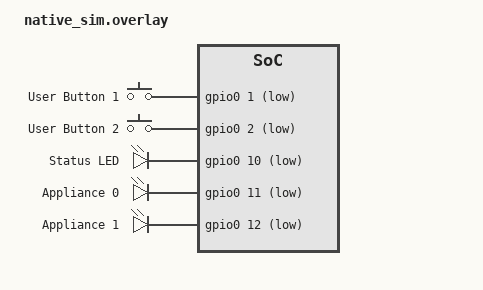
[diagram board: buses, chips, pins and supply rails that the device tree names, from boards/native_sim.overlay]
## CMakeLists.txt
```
# SPDX-License-Identifier: Apache-2.0

cmake_minimum_required(VERSION 3.20.0)

find_package(Zephyr REQUIRED HINTS $ENV{ZEPHYR_BASE})
project(home_automation)

set(CMAKE_EXPORT_COMPILE_COMMANDS ON)

target_include_directories(app PRIVATE
   include
)

set (APP_SOURCES 
   src/gpio_handler.c
   src/mqtt_handler.c
   src/main.c
)

target_sources_ifdef(CONFIG_WIFI app PRIVATE "src/wifi_conn_mgr.c")
target_sources_ifdef(CONFIG_HTTP_SERVER app PRIVATE "src/http_server.c")

target_sources(app PRIVATE 
   ${APP_SOURCES}
)

target_link_libraries(app PRIVATE zephyr_interface zephyr)

zephyr_linker_sources(SECTIONS sections-rom.ld)
zephyr_linker_section_ifdef(CONFIG_HTTP_SERVER NAME
				http_resource_desc_test_http_service
				KVMA RAM_REGION GROUP RODATA_REGION)
        
set(gen_dir ${ZEPHYR_BINARY_DIR}/include/generated/)

# Generate the HTML content
foreach(web_resource
  index.html
  main.js
    )
  generate_inc_file_for_target(
    app
    web_resources/${web_resource}
    ${gen_dir}/${web_resource}.gz.inc
    --gzip
  )
endforeach()
```

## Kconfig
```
# Config options for Home Automation System (MQTT Client)
# Copyright (c) 2025 Muhammad Waleed Badar
# SPDX-License-Identifier: Apache-2.0

mainmenu "Home Automation System"

config MAX_APPLIANCES
  int "Maximum number of appliances"
  default 2

menu "MQTT Configuration"
depends on MQTT_LIB

config SERVER_ADDR
  string "MQTT Broker Address"
  default "192.168.1.102"

config SERVER_PORT
  int "MQTT Broker Port"
  default 1883

config MQTT_CONNECT_TIMEOUT_MS
  int "MQTT Connection Timeout (ms)"
  default 5000

config MQTT_SLEEP_MS
  int "MQTT Polling Sleep Time (ms)"
  default 1000

config MQTT_CONNECT_TRIES
  int "MQTT Connection Retry Limit"
  default 10

config MQTT_CLIENTID
  string "MQTT Client ID"
  default "zephyr"

endmenu # MQTT Configuration

menu "Wi-Fi Configuration"
depends on WIFI

config WIFI_STATIC_SSID
  string "Wi-Fi SSID"
  default "YourSSID"

config WIFI_STATIC_PSK
  string "Wi-Fi Password"
  default "YourPassword"

config WIFI_CONN_RETRY_DELAY
  int "Wi-Fi Connection Retry Delay (s)"
  default 10

config NET_DHCPV4_SERVER
  bool "Enable DHCP Server"
  default y if WIFI_USAGE_MODE_STA_AP

config WIFI_AP_STATIC_SSID
  string "Static SSID for WiFi AP"
  default "Zephyr-AP"

config WIFI_AP_STATIC_PSK
  string "Static Password for WiFi AP"
  default ""

config WIFI_AP_STATIC_IP_ADDR
  string "Access-point statically configured IP address"
  default "192.168.4.1"

config WIFI_AP_STATIC_NETMASK
  string "Access-point statically configured Netmask"
  default "255.255.255.0"

endmenu # Wi-Fi Configuration

source "Kconfig.zephyr"
```

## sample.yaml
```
sample:
  description: MQTT publisher sample application
  name: MQTT publisher
common:
  harness: net
  tags:
    - net
    - mqtt
tests:
  sample.net.mqtt_publisher:
    platform_allow:
      - esp32_devkitc_wroom
      - frdm_k64f
      - qemu_x86
      - pinnacle_100_dvk
      - mg100
    integration_platforms:
      - qemu_x86
      - esp32_devkitc_wroom
  sample.net.mqtt_publisher.userspace:
    platform_allow:
      - esp32_devkitc_wroom
      - frdm_k64f
      - qemu_x86
    integration_platforms:
      - qemu_x86
    extra_args: CONFIG_USERSPACE=y
  sample.net.mqtt_publisher.bt:
    platform_allow: 96b_nitrogen
    tags:
      - net
      - mqtt
      - bluetooth
```

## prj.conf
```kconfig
# General config
CONFIG_MAIN_STACK_SIZE=4096
CONFIG_SYSTEM_WORKQUEUE_STACK_SIZE=2048
CONFIG_INIT_STACKS=y
CONFIG_POSIX_API=y

# Eventfd
CONFIG_EVENTFD=y
CONFIG_FDTABLE=y
CONFIG_ZVFS_EVENTFD_MAX=2
CONFIG_ZVFS_OPEN_MAX=16
CONFIG_ZVFS_POLL_MAX=16

# Enable I/O
CONFIG_GPIO=y
CONFIG_LED=y

# Enable WIFI
CONFIG_WIFI=y
CONFIG_WIFI_NM=y
CONFIG_WIFI_USAGE_MODE_STA_AP=y

# Networking config
CONFIG_NETWORKING=y
CONFIG_NET_IPV4=y
CONFIG_NET_IPV6=n
CONFIG_NET_TCP=y
CONFIG_NET_SOCKETS=y

# Network buffers
CONFIG_NET_PKT_RX_COUNT=16
CONFIG_NET_PKT_TX_COUNT=16
CONFIG_NET_BUF_RX_COUNT=32
CONFIG_NET_BUF_TX_COUNT=32
CONFIG_NET_CONTEXT_NET_PKT_POOL=y

# Networking Managment
CONFIG_NET_MGMT_EVENT_QUEUE_SIZE=10
CONFIG_NET_MGMT_EVENT_STACK_SIZE=4096
CONFIG_NET_SOCKETS_SERVICE_STACK_SIZE=4096

# IP address options
CONFIG_NET_MAX_CONTEXTS=16
CONFIG_NET_MAX_CONN=16

# DHCP config
CONFIG_NET_CONNECTION_MANAGER=y
CONFIG_NET_DHCPV4=y
CONFIG_NET_IF_MAX_IPV4_COUNT=2

# JSON
CONFIG_JSON_LIBRARY=y

# Enable MQTT
CONFIG_MQTT_LIB=y

# Enable HTTP_SERVER
CONFIG_HTTP_SERVER=y

# Logging
CONFIG_LOG=y
CONFIG_NET_LOG=y
CONFIG_WIFI_LOG_LEVEL_DBG=n
CONFIG_MQTT_LOG_LEVEL_DBG=n
```

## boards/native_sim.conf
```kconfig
CONFIG_EMUL=y

# Wifi config
CONFIG_WIFI=n
CONFIG_WIFI_NM=n
CONFIG_WIFI_USAGE_MODE_STA_AP=n

# Network address config
CONFIG_NET_DHCPV4=n
CONFIG_NET_CONFIG_SETTINGS=y
CONFIG_NET_CONFIG_NEED_IPV4=y
CONFIG_NET_CONFIG_MY_IPV4_ADDR="192.0.2.1"
CONFIG_NET_CONFIG_PEER_IPV4_ADDR="192.0.2.2"
CONFIG_NET_CONFIG_MY_IPV4_GW="192.0.2.2"
```

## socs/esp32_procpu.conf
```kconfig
CONFIG_ESP32_WIFI_STA_AUTO_DHCPV4=y
CONFIG_ESP32_USE_UNSUPPORTED_REVISION=y
```

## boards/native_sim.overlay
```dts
/*
 * Copyright (c) 2025 Muhammad Waleed Badar
 *
 * SPDX-License-Identifier: Apache-2.0
 */

#include <zephyr/dt-bindings/input/input-event-codes.h>
#include <zephyr/dt-bindings/lvgl/lvgl.h>

/ {
	aliases {
		sw1 = &button1;
		sw2 = &button2;
		led0 = &led0;
		appliance1 = &appliance1;
		appliance2 = &appliance2;
	};

	buttons {
		compatible = "gpio-keys";
        debounce-interval-ms = <100>;

		button1: button_1 {
			gpios = <&gpio0 1 (GPIO_PULL_UP | GPIO_ACTIVE_LOW)>;
			label = "User Button 1";
			zephyr,code = <INPUT_KEY_1>;
		};
		button2: button_2 {
			gpios = <&gpio0 2 (GPIO_PULL_UP | GPIO_ACTIVE_LOW)>;
			label = "User Button 2";
			zephyr,code = <INPUT_KEY_2>;
		};
	};

	leds {
		compatible = "gpio-leds";
		led0: led_0 {
			gpios = <&gpio0 10 GPIO_ACTIVE_LOW>;
			label = "Status LED";
		};

		compatible = "gpio-leds";
		appliance1: appliance_1 {
			gpios = <&gpio0 11 GPIO_ACTIVE_LOW>;
			label = "Appliance 0";
		};

		compatible = "gpio-leds";
		appliance2: appliance_2 {
			gpios = <&gpio0 12 GPIO_ACTIVE_LOW>;
			label = "Appliance 1";
		};
	};
};
```

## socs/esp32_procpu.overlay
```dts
/*
 * Copyright (c) 2025 Muhammad Waleed Badar
 *
 * SPDX-License-Identifier: Apache-2.0
 */

/ {
	aliases {
		sw1 = &button1;
		sw2 = &button2;
		led0 = &led0;
		appliance1 = &appliance1;
		appliance2 = &appliance2;
	};

	wlan1: wlan1 {
		compatible = "espressif,esp32-wifi";
		status = "okay";
	};

	buttons {
		compatible = "gpio-keys";
        debounce-interval-ms = <100>;

		button1: button_1 {
			gpios = <&gpio0 25 (GPIO_PULL_UP | GPIO_ACTIVE_LOW)>;
			label = "User Button 1";
			zephyr,code = <INPUT_KEY_1>;
		};
		button2: button_2 {
			gpios = <&gpio1 1 (GPIO_PULL_UP | GPIO_ACTIVE_LOW)>;
			label = "User Button 2";
			zephyr,code = <INPUT_KEY_2>;
		};
	};

	leds {
		compatible = "gpio-leds";
		led0: led_0 {
			gpios = <&gpio0 9 GPIO_ACTIVE_LOW>;
			label = "Status LED";
		};

		compatible = "gpio-leds";
		appliance1: appliance_1 {
			gpios = <&gpio0 21 GPIO_ACTIVE_LOW>;
			label = "Appliance 0";
		};

		compatible = "gpio-leds";
		appliance2: appliance_2 {
			gpios = <&gpio0 22 GPIO_ACTIVE_LOW>;
			label = "Appliance 1";
		};
	};
};
```

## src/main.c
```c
/*
 * Copyright (c) 2025 Muhammad Waleed Badar
 *
 * SPDX-License-Identifier: Apache-2.0
 */

#include <zephyr/net/http/server.h>
#include <mqtt_handler.h>
#include <gpio_handler.h>

int main(void)
{
    if(IS_ENABLED(CONFIG_HTTP_SERVER))
		http_server_start();

    while (1) {
        pub_sub();
        k_msleep(CONFIG_MQTT_SLEEP_MS);
    }
}
```

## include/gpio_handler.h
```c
/*
 * Copyright (c) 2025 Muhammad Waleed Badar
 *
 * SPDX-License-Identifier: Apache-2.0
 */

#ifndef APP_INCLUDE_GPIO_HANDLER_H_
#define APP_INCLUDE_GPIO_HANDLER_H_

#include <zephyr/init.h>
#include <zephyr/kernel.h>
#include <zephyr/device.h>
#include <zephyr/drivers/gpio.h>
#include <zephyr/sys/util.h>

extern const struct gpio_dt_spec buttons[CONFIG_MAX_APPLIANCES];
extern const struct gpio_dt_spec appliances[CONFIG_MAX_APPLIANCES];

#endif /* APP_INCLUDE_GPIO_HANDLER_H_ */
```

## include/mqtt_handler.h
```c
/*
 * Copyright (c) 2025 Muhammad Waleed Badar
 *
 * SPDX-License-Identifier: Apache-2.0
 */

#ifndef APP_INCLUDE_MQTT_HANDLER_H_
#define APP_INCLUDE_MQTT_HANDLER_H_

#include <stdint.h>
#include <stdbool.h>
#include <string.h>
#include <errno.h>

#include <zephyr/kernel.h>
#include <zephyr/net/socket.h>
#include <zephyr/net/mqtt.h>
#include <zephyr/device.h>
#include <zephyr/drivers/gpio.h>
#include <zephyr/random/random.h>

/* The mqtt client connections status */
extern bool connected;

int pub_switch_state(const struct gpio_dt_spec *button, int index, uint8_t *pub_topics);
int sub_relay_state(const struct gpio_dt_spec *relay, uint8_t *payload, uint8_t *pub_topics);
int pub_sub(void);

#endif /* APP_INCLUDE_MQTT_HANDLER_H_ */
```

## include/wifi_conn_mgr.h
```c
/*
 * Copyright (c) 2025 Muhammad Waleed Badar
 *
 * SPDX-License-Identifier: Apache-2.0
 */

#ifndef APP_INCLUDE_WIFI_CONN_MGR_H_
#define APP_INCLUDE_WIFI_CONN_MGR_H_

#include <stdint.h>

#include <zephyr/init.h>
#include <zephyr/kernel.h>
#include <zephyr/drivers/led.h>
#include <zephyr/net/dhcpv4_server.h>
#include <zephyr/net/wifi_mgmt.h>

int wifi_ap_enable(struct net_if *iface);
int wifi_ap_disable(struct net_if *iface);
int wifi_connect(struct net_if *iface, const uint8_t *ssid, const uint8_t *psk);
int wifi_disconnect(struct net_if *iface, const uint8_t *ssid, const uint8_t *psk);

#endif /* APP_INCLUDE_WIFI_CONN_MGR_H_ */
```

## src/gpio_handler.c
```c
/*
 * Copyright (c) 2025 Muhammad Waleed Badar
 *
 * SPDX-License-Identifier: Apache-2.0
 */

#include <gpio_handler.h>

#include <zephyr/logging/log.h>
LOG_MODULE_REGISTER(gpio_config, LOG_LEVEL_DBG);

static struct gpio_callback gpio_cb[CONFIG_MAX_APPLIANCES];

const struct gpio_dt_spec buttons[] = {
    GPIO_DT_SPEC_GET_OR(DT_ALIAS(sw1), gpios, {0}),
    GPIO_DT_SPEC_GET_OR(DT_ALIAS(sw2), gpios, {0})
};

const struct gpio_dt_spec appliances[] = {
    GPIO_DT_SPEC_GET_OR(DT_ALIAS(appliance1), gpios, {0}),
    GPIO_DT_SPEC_GET_OR(DT_ALIAS(appliance2), gpios, {0})
};

void button_cb(const struct device *dev, struct gpio_callback *cb, uint32_t pins) {
    for (int i = 0; i < CONFIG_MAX_APPLIANCES; i++) {
        if (pins & BIT(buttons[i].pin)) {
            bool state = gpio_pin_get_dt(&buttons[i]);
            gpio_pin_set_dt(&appliances[i], state);
            LOG_INF("Button %d pressed, Appliance %d set to %d", i + 1, i + 1, state);
        }
    }
}

static int pin_mode(const struct gpio_dt_spec *user_gpio, uint32_t dir) {
    int ret;

    if (!gpio_is_ready_dt(user_gpio)) {
        LOG_ERR("Error: GPIO device %s is not ready", user_gpio->port->name);
        return -ENODEV;
    }

    ret = gpio_pin_configure_dt(user_gpio, dir);
    if (ret != 0) {
        LOG_ERR("Error %d: failed to configure %s pin %d", ret, user_gpio->port->name, user_gpio->pin);
        return ret;
    }

    if (dir == GPIO_INPUT) {
        ret = gpio_pin_interrupt_configure_dt(user_gpio, GPIO_INT_EDGE_BOTH);
        if (ret != 0) {
            LOG_ERR("Error %d: failed to configure interrupt on %s pin %d", ret, user_gpio->port->name, user_gpio->pin);
            return ret;
        }

        gpio_init_callback(&gpio_cb[user_gpio->pin], button_cb, BIT(user_gpio->pin));
        gpio_add_callback(user_gpio->port, &gpio_cb[user_gpio->pin]);
    }

    return ret; 
}

static int gpio_init(void)
{
    bool state;

    for (int i = 0; i < CONFIG_MAX_APPLIANCES; i++) {
        pin_mode(&buttons[i], GPIO_INPUT);
        pin_mode(&appliances[i], GPIO_OUTPUT);

        state = gpio_pin_get_dt(&buttons[i]);
        gpio_pin_set_dt(&appliances[i], state);
    }
	return 0;
}

SYS_INIT(gpio_init, APPLICATION, 95);
```

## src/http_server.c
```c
/*
 * Copyright (c) 2025 Muhammad Waleed Badar
 *
 * SPDX-License-Identifier: Apache-2.0
 */

#include <stdio.h>
#include <stdint.h>
#include <string.h>

#include <wifi_conn_mgr.h>
#include <zephyr/net/http/server.h>
#include <zephyr/net/http/service.h>
#include <zephyr/data/json.h>

#include <zephyr/logging/log.h>
LOG_MODULE_REGISTER(http_service, LOG_LEVEL_DBG);

static uint8_t index_html_gz[] = {
#include "index.html.gz.inc"
};

static uint8_t main_js_gz[] = {
#include "main.js.gz.inc"
};

struct wifi_creds {
	const uint8_t* ssid;
	const uint8_t* psk;
};

static const struct json_obj_descr wifi_creds_descr[] = {
	JSON_OBJ_DESCR_PRIM(struct wifi_creds, ssid, JSON_TOK_STRING),
	JSON_OBJ_DESCR_PRIM(struct wifi_creds, psk, JSON_TOK_STRING),
};

static struct http_resource_detail_static index_html_gz_resource_detail = {
	.common =
		{
			.type = HTTP_RESOURCE_TYPE_STATIC,
			.bitmask_of_supported_http_methods = BIT(HTTP_GET),
			.content_encoding = "gzip",
			.content_type = "text/html",
		},
	.static_data = index_html_gz,
	.static_data_len = sizeof(index_html_gz),
};

static struct http_resource_detail_static main_js_gz_resource_detail = {
	.common =
		{
			.type = HTTP_RESOURCE_TYPE_STATIC,
			.bitmask_of_supported_http_methods = BIT(HTTP_GET),
			.content_encoding = "gzip",
			.content_type = "text/javascript",
		},
	.static_data = main_js_gz,
	.static_data_len = sizeof(main_js_gz),
};

static int wifi_creds_parser(struct wifi_creds *creds, uint8_t *buf, size_t len)
{
	int ret, ret_json;

	if (!creds && !buf) {
		LOG_ERR("Invalid arguments");
		return -EINVAL;
	}

	memset(creds, 0, sizeof(struct wifi_creds));

	ret = json_obj_parse(buf, len, wifi_creds_descr, ARRAY_SIZE(wifi_creds_descr), creds);
	ret_json = (1 << ARRAY_SIZE(wifi_creds_descr)) - 1;

	if (ret < 0) {
		LOG_ERR("JSON Parse Error: %d", ret);
		return ret;
	} 
	
	if (ret != ret_json) {
		LOG_ERR("Not all values decoded; Expected return code %d but got %d", ret_json,
			ret);
		return -EINVAL;
	}

	return ret;
}

static int connect_handler(struct http_client_ctx *client, enum http_data_status status,
			   const struct http_request_ctx *request_ctx,
			   struct http_response_ctx *response_ctx, void *user_data)
{
	int ret;
	struct wifi_creds creds;

	if (status == HTTP_SERVER_DATA_ABORTED) {
		LOG_INF("Transaction aborted");
		return 0;
	} else if (status == HTTP_SERVER_DATA_MORE) {
		LOG_INF("More data is received");
		return 0;
	}

	ret = wifi_creds_parser(&creds, request_ctx->data, request_ctx->data_len);
	if (ret < 0) {
		return 0;
	}

	if(IS_ENABLED(CONFIG_WIFI)){
		struct net_if *iface = net_if_get_wifi_sta();
		if (!iface) {
			LOG_ERR("Wifi interface not found");
			return 0;
		}

		ret = wifi_connect(iface, creds.ssid, creds.psk);
		if (ret < 0) {
			LOG_ERR("Connect request failed: (%d)", ret);
			return 0;
		}
	}

	LOG_INF("SSID: %s, PSK: %s", creds.ssid, creds.psk);

	return 0;
}

static struct http_resource_detail_dynamic connect_resource_detail = {
	.common =
		{
			.type = HTTP_RESOURCE_TYPE_DYNAMIC,
			.bitmask_of_supported_http_methods = BIT(HTTP_GET) | BIT(HTTP_POST),
		},
	.cb = connect_handler,
	.user_data = NULL,
};

static uint16_t test_http_service_port = 80;
HTTP_SERVICE_DEFINE(test_http_service, NULL, &test_http_service_port,
		    CONFIG_HTTP_SERVER_MAX_CLIENTS, 10, NULL, NULL, NULL);

HTTP_RESOURCE_DEFINE(index_html_gz_resource, test_http_service, "/",
		     &index_html_gz_resource_detail);

HTTP_RESOURCE_DEFINE(main_js_gz_resource, test_http_service, "/main.js",
		     &main_js_gz_resource_detail);

HTTP_RESOURCE_DEFINE(connect_resource, test_http_service, "/connect", &connect_resource_detail);
```

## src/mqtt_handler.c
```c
/*
 * Copyright (c) 2025 Muhammad Waleed Badar
 *
 * SPDX-License-Identifier: Apache-2.0
 */

#include <mqtt_handler.h>
#include <gpio_handler.h>

#include <zephyr/logging/log.h>
LOG_MODULE_REGISTER(mqtt_app, LOG_LEVEL_DBG);

#define SUCCESS_OR_EXIT(rc) { if (rc != 0) { return 1; } }
#define SUCCESS_OR_BREAK(rc) { if (rc != 0) { break; } }

/* Publish Topic list*/
uint8_t *pub_topics[] = {"/room1/status/outlet1", "/room1/status/outlet2"};
size_t size_of_pub_topics = ARRAY_SIZE(pub_topics);

/* Subscribed Topic list*/
uint8_t *sub_topics[] = {"/room1/set/outlet1", "/room1/set/outlet2"};
size_t size_of_sub_topics = ARRAY_SIZE(sub_topics);

/* Buffers for MQTT client. */
static uint8_t rx_buffer[CONFIG_NET_IPV4_MTU];
static uint8_t tx_buffer[CONFIG_NET_IPV4_MTU];

/* The mqtt client struct */
struct mqtt_client client_ctx;

/* MQTT Broker details. */
static struct sockaddr_storage broker;

static struct zsock_pollfd fds[1];
static int nfds;

bool connected;

static void prepare_fds(struct mqtt_client *client)
{
	if (client->transport.type == MQTT_TRANSPORT_NON_SECURE) {
		fds[0].fd = client->transport.tcp.sock;
	}

	fds[0].events = ZSOCK_POLLIN;
	nfds = 1;
}

static void clear_fds(void)
{
	nfds = 0;
}

static int wait(int timeout)
{
	int ret = 0;

	if (nfds > 0) {
		ret = zsock_poll(fds, nfds, timeout);
		if (ret < 0) {
			LOG_ERR("poll error: %d", errno);
		}
	}

	return ret;
}

void mqtt_evt_handler(struct mqtt_client *const client,
		      const struct mqtt_evt *evt)
{
	int err;

	switch (evt->type) {
	case MQTT_EVT_CONNACK:
		if (evt->result != 0) {
			LOG_ERR("MQTT connect failed %d", evt->result);
			break;
		}

		connected = true;
		LOG_INF("MQTT client connected!");

		break;

	case MQTT_EVT_DISCONNECT:
		LOG_INF("MQTT client disconnected %d", evt->result);

		connected = false;
		clear_fds();

		break;

	case MQTT_EVT_SUBACK:
		if (evt->result != 0) {
			LOG_INF("MQTT SUBACK error %d", evt->result);
			break;
		}
		LOG_INF("SUB ACK Recieved");
	
		break;

	case MQTT_EVT_PUBACK:
		if (evt->result != 0) {
			LOG_ERR("MQTT PUBACK error %d", evt->result);
			break;
		}

		LOG_INF("PUBACK packet id: %u", evt->param.puback.message_id);

		break;

	case MQTT_EVT_PUBREC:
		if (evt->result != 0) {
			LOG_ERR("MQTT PUBREC error %d", evt->result);
			break;
		}

		LOG_INF("PUBREC packet id: %u", evt->param.pubrec.message_id);

		const struct mqtt_pubrel_param rel_param = {
			.message_id = evt->param.pubrec.message_id
		};

		err = mqtt_publish_qos2_release(client, &rel_param);
		if (err != 0) {
			LOG_ERR("Failed to send MQTT PUBREL: %d", err);
		}

		break;

	case MQTT_EVT_PUBCOMP:
		if (evt->result != 0) {
			LOG_ERR("MQTT PUBCOMP error %d", evt->result);
			break;
		}

		LOG_INF("PUBCOMP packet id: %u",
			evt->param.pubcomp.message_id);

		break;

	case MQTT_EVT_PINGRESP:
		LOG_INF("PINGRESP packet");
		break;

	case MQTT_EVT_PUBLISH:
		struct mqtt_puback_param puback;
		uint8_t data[CONFIG_MAX_APPLIANCES];
		uint8_t* subTopic = (uint8_t *)evt->param.publish.message.topic.topic.utf8;
		int len = evt->param.publish.message.payload.len;
		int bytes_read;
		
		LOG_INF("MQTT publish received %d, %d bytes", evt->result, len);
		LOG_INF("MQTT publish received topic: %s", subTopic);
		LOG_INF(" id: %d, qos: %d", evt->param.publish.message_id,
			evt->param.publish.message.topic.qos);

		while (len) {
			bytes_read = mqtt_read_publish_payload(&client_ctx,
					data,
					len >= sizeof(data) - 1 ?
					sizeof(data) - 1 : len);
			if (bytes_read < 0 && bytes_read != -EAGAIN) {
				LOG_ERR("failure to read payload");
				break;
			}

			data[bytes_read] = '\0';
			len -= bytes_read;
		}

		/* Toggle Appliance State when payload is recieved from Home Assistant*/
		for(int i=0; i < CONFIG_MAX_APPLIANCES; i++) {
			if (!strcmp(subTopic, sub_topics[i])) {
				sub_relay_state(&appliances[i], data, pub_topics[i]);
				LOG_INF("MQTT publish: %s", data);
			}
		}

		puback.message_id = evt->param.publish.message_id;
		mqtt_publish_qos1_ack(&client_ctx, &puback);
		break;

	default:
		break;
	}
}

int subscribe(struct mqtt_client *client, uint8_t *sub_topics[], size_t size_of_pub_topics)
{
	int ret;

	struct mqtt_topic topics[size_of_pub_topics];
	struct mqtt_subscription_list sub;

	for (size_t i = 0; i < ARRAY_SIZE(topics); ++i) {
        topics[i].topic.utf8 = sub_topics[i];
        topics[i].topic.size = strlen(sub_topics[i]);
        topics[i].qos = MQTT_QOS_0_AT_MOST_ONCE;
    }

	sub.list = topics;
	sub.list_count = size_of_pub_topics;
	sub.message_id = sys_rand32_get();

	LOG_INF("Subscribing to %hu topic(s)", sub.list_count);

	ret = mqtt_subscribe(client, &sub);
	if (ret != 0) {
		LOG_ERR("Failed to subscribe to topics: %d", ret);
	}

	return ret;
}

int publish(struct mqtt_client *client, uint8_t *pub_topics, uint8_t *payload)
{
	struct mqtt_publish_param param;

	param.message.topic.qos = 0;
	param.message.topic.topic.utf8 = (uint8_t *)pub_topics;
	param.message.topic.topic.size =
			strlen(param.message.topic.topic.utf8);
	param.message.payload.data = payload;
	param.message.payload.len =
			strlen(param.message.payload.data);
	param.message_id = sys_rand32_get();
	param.dup_flag = 0U;
	param.retain_flag = 0U;

	return mqtt_publish(client, &param);
}

#define RC_STR(rc) ((rc) == 0 ? "OK" : "ERROR")

#define PRINT_RESULT(func, rc) \
	LOG_INF("%s: %d <%s>", (func), rc, RC_STR(rc))

static void broker_init(void)
{
	struct sockaddr_in *broker4 = (struct sockaddr_in *)&broker;

	broker4->sin_family = AF_INET;
	broker4->sin_port = htons(CONFIG_SERVER_PORT);
	zsock_inet_pton(AF_INET, CONFIG_SERVER_ADDR, &broker4->sin_addr);
}

static void client_init(struct mqtt_client *client)
{
	mqtt_client_init(client);

	broker_init();

	/* MQTT client configuration */
	client->broker = &broker;
	client->evt_cb = mqtt_evt_handler;
	client->client_id.utf8 = (uint8_t *)CONFIG_MQTT_CLIENTID;
	client->client_id.size = strlen(CONFIG_MQTT_CLIENTID);
	client->password = NULL;
	client->user_name = NULL;
	client->protocol_version = MQTT_VERSION_3_1_1;

	/* MQTT buffers configuration */
	client->rx_buf = rx_buffer;
	client->rx_buf_size = sizeof(rx_buffer);
	client->tx_buf = tx_buffer;
	client->tx_buf_size = sizeof(tx_buffer);
}

/* In this routine we block until the connected variable is 1 */
int try_to_connect(struct mqtt_client *client)
{
	int rc, i = 0;

	while (i++ < CONFIG_MQTT_CONNECT_TRIES && !connected) {

		client_init(client);

		rc = mqtt_connect(client);
		if (rc != 0) {
			PRINT_RESULT("mqtt_connect", rc);
			k_sleep(K_MSEC(CONFIG_MQTT_SLEEP_MS));
			continue;
		}

		prepare_fds(client);

		if (wait(CONFIG_MQTT_CONNECT_TIMEOUT_MS)) {
			mqtt_input(client);
		}

		if (!connected) {
			mqtt_abort(client);
		}
	}

	if (connected) {
		return 0;
	}

	return -EINVAL;
}

int process_mqtt_and_sleep(struct mqtt_client *client, int timeout)
{
	int64_t remaining = timeout;
	int64_t start_time = k_uptime_get();
	int rc;

	while (remaining > 0 && connected) {
		if (wait(remaining)) {
			rc = mqtt_input(client);
			if (rc != 0) {
				PRINT_RESULT("mqtt_input", rc);
				return rc;
			}
		}

		rc = mqtt_live(client);
		if (rc != 0 && rc != -EAGAIN) {
			PRINT_RESULT("mqtt_live", rc);
			return rc;
		} else if (rc == 0) {
			rc = mqtt_input(client);
			if (rc != 0) {
				PRINT_RESULT("mqtt_input", rc);
				return rc;
			}
		}

		remaining = timeout + start_time - k_uptime_get();
	}

	return 0;
}

/*Publish Physical Switch State*/
int pub_switch_state(const struct gpio_dt_spec *button, int i, uint8_t *pub_topics){
    int rc;
    int currentState = gpio_pin_get_dt(button);
    static bool previousState[32] = {false};

    // Check if the state has changed
	if(previousState[i] ^ currentState){
		if(currentState) rc = publish(&client_ctx, pub_topics, "1");
		else rc = publish(&client_ctx, pub_topics, "0");
	}
	previousState[i] = currentState;

	return 0;
}

/*Subsribe to Home Assistant Switch States*/
int sub_relay_state(const struct gpio_dt_spec *relay, uint8_t *payload, uint8_t *pub_topics){
	if(!strcmp(payload, "1")) {
		publish(&client_ctx, pub_topics, "1");
		gpio_pin_set_dt(relay, 1);
		LOG_INF("Appliance State: 1");
	} else if(!strcmp(payload, "0")) {
		publish(&client_ctx, pub_topics, "0");
		gpio_pin_set_dt(relay, 0);
		LOG_INF("Appliance State: 0");
	}

	return 0;
}

int pub_sub(void)
{
	int rc, r = 0;

	rc = try_to_connect(&client_ctx);
	SUCCESS_OR_EXIT(rc);

	if (connected)
		subscribe(&client_ctx, sub_topics, size_of_pub_topics);

	while (connected) {
		r = -1;

		for(int i=0; i<CONFIG_MAX_APPLIANCES; i++)
			pub_switch_state(&buttons[i], i, pub_topics[i]);

		rc = process_mqtt_and_sleep(&client_ctx, CONFIG_MQTT_SLEEP_MS);
		SUCCESS_OR_BREAK(rc);

		r = 0;
	}

	return r;
}
```

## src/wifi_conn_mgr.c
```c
/*
 * Copyright (c) 2025 Muhammad Waleed Badar
 *
 * SPDX-License-Identifier: Apache-2.0
 */

#include <wifi_conn_mgr.h>

#include <zephyr/logging/log.h>
LOG_MODULE_REGISTER(wifi_conn_mgr);

#define NET_EVENT_WIFI_MASK (NET_EVENT_WIFI_CONNECT_RESULT | NET_EVENT_WIFI_DISCONNECT_RESULT)

static bool net_dhcpv4_server_status = false;

static struct net_mgmt_event_callback wifi_cb;
static void wifi_conn_handler(struct k_work *work);
K_WORK_DELAYABLE_DEFINE(wifi_conn_dwork, wifi_conn_handler);

static const struct led_dt_spec wifi_status_led = LED_DT_SPEC_GET(DT_ALIAS(led0));

static int wifi_status(struct net_if *iface, struct wifi_iface_status *status)
{
	int ret;

	ret = net_mgmt(NET_REQUEST_WIFI_IFACE_STATUS, iface, status,
		       sizeof(struct wifi_iface_status));
	if (ret < 0) {
		LOG_WRN("Status request failed: %d", ret);
	}

	LOG_DBG("WiFi status: %s", wifi_state_txt(status->state));

	return ret;
}

static void wifi_config(struct net_if *iface, struct wifi_connect_req_params *config)
{
	ARG_UNUSED(iface);
	config->ssid_length = strlen(config->ssid);
	config->psk_length = strlen(config->psk);
	config->channel = WIFI_CHANNEL_ANY;
	config->band = WIFI_FREQ_BAND_2_4_GHZ;

	if (strlen(config->psk) == 0) {
		config->security = WIFI_SECURITY_TYPE_NONE;
	} else {
		config->security = WIFI_SECURITY_TYPE_PSK;
	}
}

#if defined(CONFIG_WIFI_USAGE_MODE_STA_AP)

static int wifi_ap_dhcpv4_server_start(struct net_if *iface)
{
	struct in_addr ip_addr;
	struct in_addr netmask;
	int ret;

	ret = net_addr_pton(AF_INET, CONFIG_WIFI_AP_STATIC_IP_ADDR, &ip_addr);
	if (ret < 0) {
		LOG_ERR("Invalid IP address: %s", CONFIG_WIFI_AP_STATIC_IP_ADDR);
		return ret;
	}

	ret = net_addr_pton(AF_INET, CONFIG_WIFI_AP_STATIC_NETMASK, &netmask);
	if (ret < 0) {
		LOG_ERR("Invalid NETMASK: %s", CONFIG_WIFI_AP_STATIC_NETMASK);
		return ret;
	}

	net_if_ipv4_set_gw(iface, &ip_addr);

	if (net_if_ipv4_addr_add(iface, &ip_addr, NET_ADDR_MANUAL, 0) == NULL) {
		LOG_ERR("unable to set IP address for AP interface");
		return -EINVAL;
	}

	if (!net_if_ipv4_set_netmask_by_addr(iface, &ip_addr, &netmask)) {
		LOG_ERR("Unable to set netmask for AP interface");
		return -EINVAL;
	}

	ip_addr.s4_addr[3] += 10; /* Starting IPv4 address for DHCPv4 address pool. */

	ret = net_dhcpv4_server_start(iface, &ip_addr);
	if (ret < 0) {
		LOG_ERR("DHCP server is not started for desired IP");
	} else {
		net_dhcpv4_server_status = true;
	}

	return ret;
}

int wifi_ap_enable(struct net_if *iface)
{
	struct wifi_connect_req_params config = {0};
	int ret;

	if (net_dhcpv4_server_status) {
		LOG_DBG("DHCPv4 Server is already started");
		return 0;
	}

	config.ssid = CONFIG_WIFI_AP_STATIC_SSID;
	config.psk = CONFIG_WIFI_AP_STATIC_PSK;
	wifi_config(iface, &config);

	ret = wifi_ap_dhcpv4_server_start(iface);
	if (ret < 0) {
		LOG_ERR("DHCPv4 Server failed, err: %d", ret);
		return ret;
	}

	LOG_INF("Enabling Access-Point Mode");
	ret = net_mgmt(NET_REQUEST_WIFI_AP_ENABLE, iface, &config,
		       sizeof(struct wifi_connect_req_params));
	if (ret) {
		LOG_ERR("Wifi AP enable request failed, err: %d", ret);
	}

	return ret;
}

int wifi_ap_disable(struct net_if *iface)
{
	struct wifi_connect_req_params config = {0};
	int ret;

	if (!net_dhcpv4_server_status) {
		LOG_DBG("DHCPv4 Server is already stopped");
		return 0;
	}

	config.ssid = CONFIG_WIFI_AP_STATIC_SSID;
	config.psk = CONFIG_WIFI_AP_STATIC_PSK;
	wifi_config(iface, &config);

	ret = net_mgmt(NET_REQUEST_WIFI_AP_DISABLE, iface, &config,
		       sizeof(struct wifi_connect_req_params));
	if (ret < 0) {
		LOG_ERR("Wifi AP disable request failed, err: %d", ret);
		return ret;
	}

	ret = net_dhcpv4_server_stop(iface);
	if (ret < 0) {
		LOG_ERR("DHCP server stop failed, err: %d", ret);
	} else {
		net_dhcpv4_server_status = false;
	}

	return ret;
}
#endif /* CONFIG_WIFI_USAGE_MODE_STA_AP */

static void wifi_event_handler(struct net_mgmt_event_callback *cb, uint64_t mgmt_event,
			       struct net_if *iface)
{
	ARG_UNUSED(cb);

	struct net_if *iface_sap = net_if_get_wifi_sap();
	if (IS_ENABLED(CONFIG_WIFI_USAGE_MODE_STA_AP) && !iface_sap) {
		return;
	}

	switch (mgmt_event) {
	case NET_EVENT_WIFI_CONNECT_RESULT: {
		LOG_DBG("Connected to Access-Point");
		led_on_dt(&wifi_status_led);

		if (IS_ENABLED(CONFIG_WIFI_USAGE_MODE_STA_AP)) {
			wifi_ap_disable(iface_sap);
		}
		break;
	}
	case NET_EVENT_WIFI_DISCONNECT_RESULT: {
		LOG_DBG("Disconnected from Access-Point");
		led_off_dt(&wifi_status_led);

		k_work_schedule(&wifi_conn_dwork, K_SECONDS(CONFIG_WIFI_CONN_RETRY_DELAY));
		if (IS_ENABLED(CONFIG_WIFI_USAGE_MODE_STA_AP)) {
			wifi_ap_enable(iface_sap);
		}
		break;
	}
	default:
		break;
	}
}

int wifi_connect(struct net_if *iface, const uint8_t *ssid, const uint8_t *psk)
{
	struct wifi_connect_req_params config = {0};
	struct wifi_iface_status status = {0};
	int ret = 0;

	net_mgmt_init_event_callback(&wifi_cb, wifi_event_handler, NET_EVENT_WIFI_MASK);
	net_mgmt_add_event_callback(&wifi_cb);

	wifi_status(iface, &status);

	if (status.state >= WIFI_STATE_ASSOCIATED) {
		LOG_DBG("Connected to SSID: %s", ssid);
		return status.state;
	}

	config.ssid = ssid;
	config.psk = psk;
	wifi_config(iface, &config);

	if (status.state == WIFI_STATE_DISCONNECTED || status.state == WIFI_STATE_INACTIVE) {
		LOG_INF("Connecting to Access-Point, SSID: %s", config.ssid);
		ret = net_mgmt(NET_REQUEST_WIFI_CONNECT, iface, &config, sizeof(config));
		if (ret < 0) {
			LOG_ERR("Connect request failed: (%d)", ret);
		}
	}

	return ret;
}

int wifi_disconnect(struct net_if *iface, const uint8_t *ssid, const uint8_t *psk)
{
	struct wifi_connect_req_params config = {0};
	int ret;

	config.ssid = ssid;
	config.psk = psk;
	wifi_config(iface, &config);

	ret = net_mgmt(NET_REQUEST_WIFI_DISCONNECT, iface, &config,
		       sizeof(struct wifi_connect_req_params));
	if (ret) {
		LOG_ERR("WiFi disconnect request failed, err: %d", ret);
	}

	return ret;
}

static void wifi_conn_handler(struct k_work *work)
{
	struct net_if *iface = net_if_get_wifi_sta();
	if (!iface) {
		LOG_ERR("Wifi interface not found");
		return;
	}

	wifi_connect(iface, CONFIG_WIFI_STATIC_SSID, CONFIG_WIFI_STATIC_PSK);
}

static int wifi_conn_mgr(void)
{
	k_work_schedule(&wifi_conn_dwork, K_NO_WAIT);
	return 0;
}

SYS_INIT(wifi_conn_mgr, APPLICATION, CONFIG_WIFI_INIT_PRIORITY);
```
